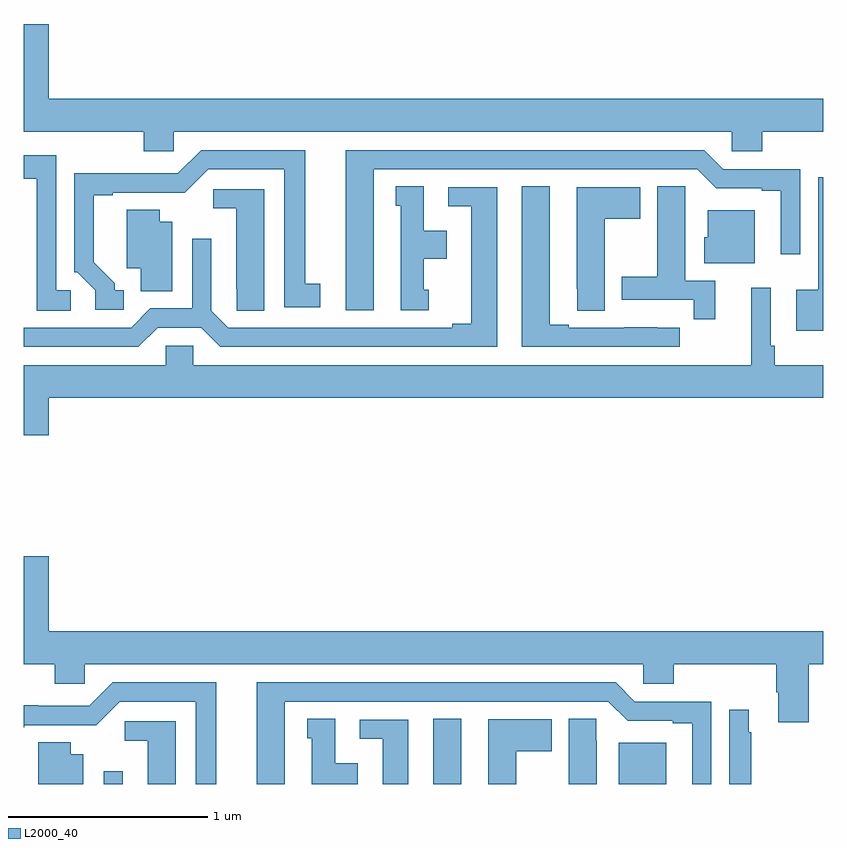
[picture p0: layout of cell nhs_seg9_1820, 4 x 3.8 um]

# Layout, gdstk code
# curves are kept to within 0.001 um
import gdstk
lib = gdstk.Library(unit=1e-6, precision=1e-09)
def R(c, l, rs):  # rectangles x0, y0, x1, y1
    for r in rs: c.add(gdstk.rectangle(r[:2], r[2:], *l))
def P(c, l, *ps):  # polygons
    for p in ps: c.add(gdstk.Polygon(p, *l))
L2000_40 = (2000, 40)

nhs_seg9_1820 = lib.new_cell('nhs_seg9_1820')
R(nhs_seg9_1820, L2000_40, [(213.399,1182.5,213.495,1182.565), (215.048,1182.5,215.188,1182.827), (215.978,1182.5,216.214,1182.706)])
P(nhs_seg9_1820, L2000_40, [(213.75,1185.764),(216.543,1185.764),(216.543,1185.666),(216.695,1185.666),(216.695,1185.764),(217,1185.764),(217,1185.928),(213.124,1185.928),(213.124,1186.303),(213,1186.303),(213,1185.764),(213.599,1185.764),(213.599,1185.666),(213.75,1185.666)],
  [(213.499,1184.97),(213.454,1184.97),(213.454,1185.005),(213.349,1185.11),(213.349,1185.447),(213.445,1185.447),(213.445,1185.459),(213.806,1185.458),(213.924,1185.576),(214.304,1185.576),(214.304,1184.886),(214.483,1184.886),(214.483,1185.002),(214.408,1185.002),(214.408,1185.672),(213.888,1185.672),(213.771,1185.555),(213.515,1185.555),(213.515,1185.557),(213.252,1185.557),(213.252,1185.06),(213.267,1185.06),(213.357,1184.97),(213.357,1184.874),(213.499,1184.874)],
  [(214.75,1185.576),(216.369,1185.576),(216.465,1185.48),(216.692,1185.48),(216.692,1185.468),(216.788,1185.468),(216.788,1185.15),(216.885,1185.15),(216.885,1185.576),(216.501,1185.576),(216.405,1185.672),(214.61,1185.672),(214.61,1184.871),(214.75,1184.871)],
  [(213.235,1184.97),(213.162,1184.97),(213.162,1185.645),(213,1185.645),(213,1185.529),(213.065,1185.529),(213.065,1184.869),(213.235,1184.869)],
  [(217,1185.535),(216.975,1185.535),(216.975,1184.974),(216.866,1184.974),(216.866,1184.768),(217,1184.768)],
  [(215.026,1184.973),(215.002,1184.973),(215.002,1185.128),(215.116,1185.128),(215.116,1185.268),(215.002,1185.268),(215.002,1185.491),(214.862,1185.491),(214.862,1185.393),(214.886,1185.393),(214.886,1184.871),(215.026,1184.871)],
  [(216.283,1184.784),(216.17,1184.784),(216.17,1184.785),(216.004,1184.785),(216.004,1184.784),(215.728,1184.784),(215.728,1184.799),(215.632,1184.799),(215.632,1185.491),(215.492,1185.491),(215.492,1184.688),(216.283,1184.688)],
  [(216.461,1185.018),(216.31,1185.018),(216.31,1185.38),(216.309,1185.38),(216.309,1185.491),(216.17,1185.491),(216.17,1185.039),(215.993,1185.039),(215.993,1184.922),(216.352,1184.922),(216.352,1184.826),(216.461,1184.826)],
  [(215.908,1185.328),(216.085,1185.328),(216.085,1185.487),(215.768,1185.487),(215.768,1184.977),(215.769,1184.977),(215.769,1184.869),(215.908,1184.869)],
  [(213.669,1184.784),(213.887,1184.784),(213.983,1184.688),(215.368,1184.688),(215.368,1185.486),(215.124,1185.486),(215.124,1185.39),(215.24,1185.39),(215.24,1184.804),(215.144,1184.804),(215.144,1184.784),(214.023,1184.784),(213.939,1184.868),(213.939,1185.229),(213.843,1185.229),(213.843,1184.88),(213.633,1184.88),(213.537,1184.784),(213,1184.784),(213,1184.688),(213.573,1184.688)],
  [(214.204,1185.477),(213.948,1185.477),(213.948,1185.38),(214.064,1185.38),(214.064,1184.977),(214.065,1184.977),(214.065,1184.869),(214.204,1184.869)],
  [(213.742,1185.313),(213.679,1185.313),(213.679,1185.374),(213.515,1185.374),(213.515,1185.08),(213.584,1185.08),(213.584,1184.965),(213.742,1184.965)],
  [(216.658,1185.37),(216.422,1185.37),(216.422,1185.237),(216.404,1185.237),(216.404,1185.107),(216.658,1185.107)],
  [(213.124,1184.432),(217,1184.432),(217,1184.596),(216.758,1184.596),(216.758,1184.692),(216.738,1184.692),(216.738,1184.983),(216.641,1184.983),(216.641,1184.596),(213.849,1184.596),(213.849,1184.694),(213.711,1184.694),(213.711,1184.596),(213,1184.596),(213,1184.244),(213.124,1184.244)],
  [(216.929,1183.1),(217,1183.1),(217,1183.264),(213.124,1183.264),(213.124,1183.639),(213,1183.639),(213,1183.1),(213.155,1183.1),(213.155,1183.002),(213.306,1183.002),(213.306,1183.1),(216.099,1183.1),(216.099,1183.002),(216.251,1183.002),(216.251,1183.1),(216.764,1183.1),(216.764,1182.958),(216.776,1182.958),(216.776,1182.81),(216.929,1182.81)],
  [(213.964,1183.008),(213.444,1183.008),(213.327,1182.891),(213.071,1182.891),(213.071,1182.893),(213,1182.893),(213,1182.783),(213.001,1182.795),(213.362,1182.794),(213.48,1182.912),(213.86,1182.912),(213.86,1182.5),(213.964,1182.5)],
  [(214.306,1182.912),(215.925,1182.912),(216.021,1182.816),(216.248,1182.816),(216.248,1182.804),(216.344,1182.804),(216.344,1182.5),(216.441,1182.5),(216.441,1182.912),(216.057,1182.912),(215.961,1183.008),(214.166,1183.008),(214.166,1182.5),(214.306,1182.5)],
  [(216.64,1182.758),(216.628,1182.758),(216.628,1182.871),(216.531,1182.871),(216.531,1182.5),(216.64,1182.5)],
  [(215.866,1182.716),(215.865,1182.716),(215.865,1182.827),(215.726,1182.827),(215.726,1182.5),(215.866,1182.5)],
  [(214.672,1182.604),(214.558,1182.604),(214.558,1182.827),(214.418,1182.827),(214.418,1182.729),(214.442,1182.729),(214.442,1182.5),(214.672,1182.5)],
  [(215.464,1182.664),(215.641,1182.664),(215.641,1182.823),(215.324,1182.823),(215.324,1182.5),(215.464,1182.5)],
  [(214.924,1182.822),(214.68,1182.822),(214.68,1182.726),(214.796,1182.726),(214.796,1182.5),(214.924,1182.5)],
  [(213.76,1182.813),(213.504,1182.813),(213.504,1182.716),(213.62,1182.716),(213.62,1182.5),(213.76,1182.5)],
  [(213.298,1182.649),(213.235,1182.649),(213.235,1182.71),(213.071,1182.71),(213.071,1182.5),(213.298,1182.5)])

lib.write_gds('nhs_seg9_1820.gds')
